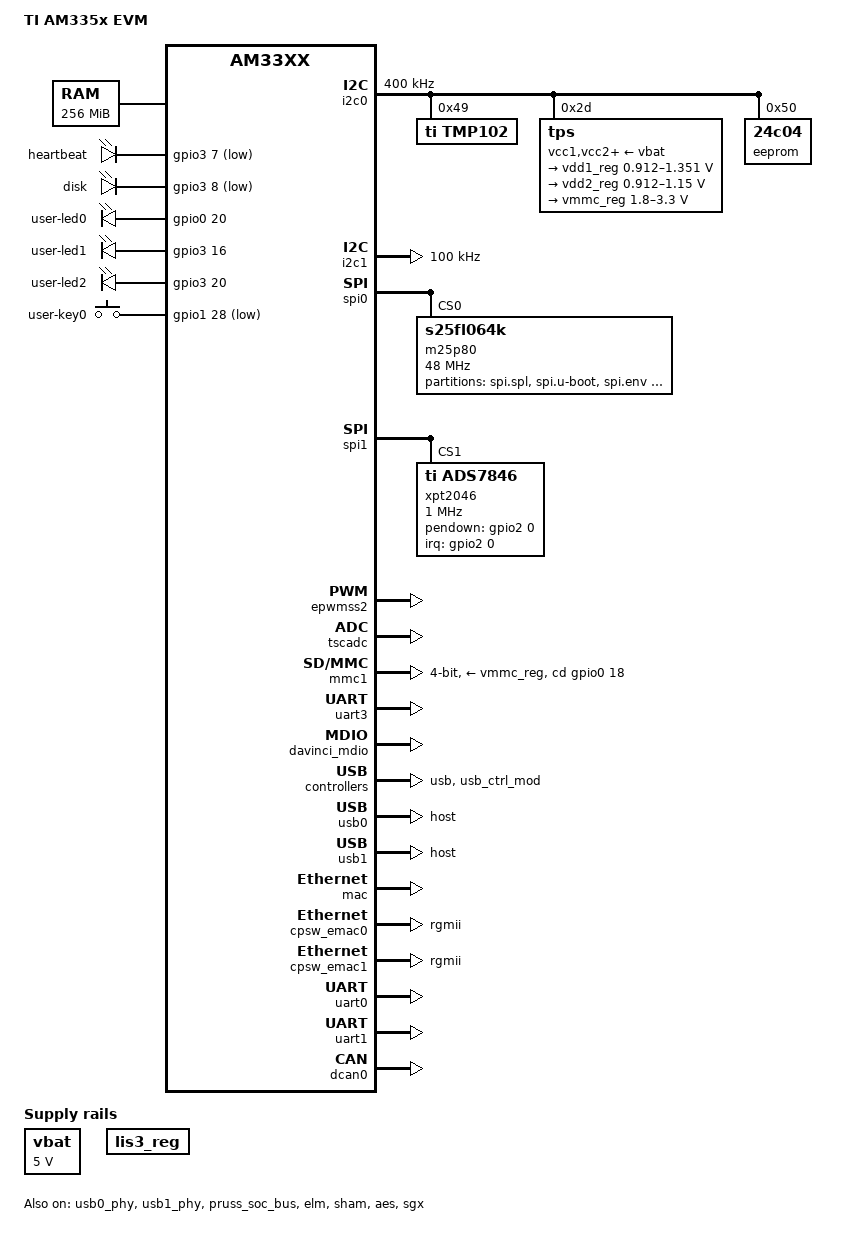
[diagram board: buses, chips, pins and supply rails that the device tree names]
/*
 * Copyright (C) 2015 GuangZhou Tronlong co., LTD - http://www.tronlong.com
 *
 * This program is free software; you can redistribute it and/or modify
 * it under the terms of the GNU General Public License version 2 as
 * published by the Free Software Foundation.
 */

/* Common device tree for TL335x-EVM board */

/dts-v1/;

#include "am33xx.dtsi"
#include <dt-bindings/interrupt-controller/irq.h>
#include <dt-bindings/input/input.h>

/ {
	model = "TI AM335x EVM";
	compatible = "ti,am335x-evm", "ti,am33xx";

	cpus {
		cpu@0 {
			cpu0-supply = <&vdd1_reg>;
		};
	};

	memory@80000000 {
		device_type = "memory";
		reg = <0x80000000 0x10000000>;	/* 256 MB */
	};

	chosen {
		stdout-path = &uart3;
	};

	vbat: fixedregulator0 {
		compatible = "regulator-fixed";
		regulator-name = "vbat";
		regulator-min-microvolt = <5000000>;
		regulator-max-microvolt = <5000000>;
		regulator-boot-on;
	};

	lis3_reg: fixedregulator1 {
		compatible = "regulator-fixed";
		regulator-name = "lis3_reg";
		regulator-boot-on;
	};

	leds {
		compatible = "gpio-leds";
		pinctrl-names = "default";
		pinctrl-0 = <&user_leds>;

		led@0 {
			label = "heartbeat";
			gpios = <&gpio3 7 GPIO_ACTIVE_LOW>;
			default-state = "on";
			linux,default-trigger = "heartbeat";
		};

		led@1 {
			label = "disk";
			gpios = <&gpio3 8 GPIO_ACTIVE_LOW>;
			default-state = "on";
			linux,default-trigger = "mmc1";
		};

		led@3 {
			label = "user-led0";
			gpios = <&gpio0 20 GPIO_ACTIVE_HIGH>;
			default-state = "on";
		};

		led@4 {
			label = "user-led1";
			gpios = <&gpio3 16 GPIO_ACTIVE_HIGH>;
			default-state = "on";
		};

		led@5 {
			label = "user-led2";
			gpios = <&gpio3 20 GPIO_ACTIVE_HIGH>;
			default-state = "on";
		};
	};

	gpio_keys: user_keys@0 {
		compatible = "gpio-keys";
		#address-cells = <1>;
		#size-cells = <0>;
		autorepeat;

		pinctrl-names = "default";
		pinctrl-0 = <&user_keys_default>;

		button@0 {
			label = "user-key0";
			linux,code = <KEY_PROG1>;
			gpios = <&gpio1 28 GPIO_ACTIVE_LOW>;
			gpio-key,wakeup;
			debounce-interval = <0>;
		};
	};
};

&am33xx_pinmux {
	pinctrl-names = "default";

	user_leds: user_leds {
		pinctrl-single,pins = <
			AM33XX_IOPAD(0x9e4, PIN_OUTPUT | MUX_MODE7)	/* (C14) emu0.gpio3[7] */
			AM33XX_IOPAD(0x9e8, PIN_OUTPUT | MUX_MODE7)	/* (B14) emu1.gpio3[8] */

			AM33XX_IOPAD(0x9b4, PIN_OUTPUT | MUX_MODE7)		/* (D14) XDMA_EVENT_INTR1.gpio0[20] */
			AM33XX_IOPAD(0x998, PIN_OUTPUT | MUX_MODE7)		/* (D12) MCASP0_AXR0.gpio3[16] */
			AM33XX_IOPAD(0x9a8, PIN_OUTPUT | MUX_MODE7)		/* (U5) MCASP0_AXR1.gpio3[20] */
		>;
	};

	user_keys_default: user_keys_default {
		pinctrl-single,pins = <
			AM33XX_IOPAD(0x878, PIN_INPUT_PULLUP | MUX_MODE7)	/* (U18) GPMC_BEN1.gpio1[28] */
		>;
	};

	i2c0_pins: pinmux_i2c0_pins {
		pinctrl-single,pins = <
			AM33XX_IOPAD(0x988, PIN_INPUT_PULLUP | MUX_MODE0)	/* i2c0_sda.i2c0_sda */
			AM33XX_IOPAD(0x98c, PIN_INPUT_PULLUP | MUX_MODE0)	/* i2c0_scl.i2c0_scl */
		>;
	};

	i2c1_pins: i2c1_pins_default {
		pinctrl-single,pins = <
			AM33XX_IOPAD(0x968, PIN_INPUT_PULLUP | MUX_MODE3)	/* (E17) I2C1_SCL/GPIO1[9] */
			AM33XX_IOPAD(0x96c, PIN_INPUT_PULLUP | MUX_MODE3)	/* (E18) I2C1_SDA/GPIO1[8] */
		>;
	};

	spi0_pins_default: spi0_pins_default {
		pinctrl-single,pins = <
			AM33XX_IOPAD(0x950, PIN_INPUT_PULLUP | MUX_MODE0)	/* (A17) spi0_sclk.spi0_sclk */
			AM33XX_IOPAD(0x954, PIN_INPUT_PULLUP | MUX_MODE0)	/* (B17) spi0_d0.spi0_d0 */
			AM33XX_IOPAD(0x958, PIN_INPUT_PULLUP | MUX_MODE0)	/* (B16) spi0_d1.spi0_d1 */
			AM33XX_IOPAD(0x95c, PIN_INPUT_PULLUP | MUX_MODE0)	/* (A16) spi0_cs0.spi0_cs0 */
		>;
	};

	spi1_pins_default: spi1_pins_default {
		pinctrl-single,pins = <
			AM33XX_IOPAD(0x908, PIN_INPUT_PULLUP | MUX_MODE2)	/* (H16) GMII1_COL.SPI1_SCLK */
			AM33XX_IOPAD(0x90c, PIN_INPUT_PULLUP | MUX_MODE2)	/* (H17) GMII1_CRS.SPI1_D0 */
			AM33XX_IOPAD(0x910, PIN_INPUT_PULLUP | MUX_MODE2)	/* (J15) GMII1_RXER.SPI1_D1 */
			AM33XX_IOPAD(0x9b0, PIN_INPUT_PULLUP | MUX_MODE4)	/* (A15) XDMA_EVENT_INTR0.SPI1_CS1 */
			AM33XX_IOPAD(0x888, PIN_INPUT_PULLUP | MUX_MODE7)	/* (T13) GPMC_CSN3.GPIO2[0] */
		>;
	};

	uart3_pins_default: uart3_pins_default {
		pinctrl-single,pins = <
			AM33XX_IOPAD(0x960, PIN_INPUT_PULLUP | MUX_MODE1)	/* (L17) gmii1_rxd3.uart3_rxd */
			AM33XX_IOPAD(0x964, PIN_OUTPUT_PULLUP | MUX_MODE1)	/* (L16) gmii1_rxd2.uart3_txd */
		>;
	};

	davinci_mdio_default: davinci_mdio_default {
		pinctrl-single,pins = <
			/* MDIO */
			AM33XX_IOPAD(0x948, PIN_INPUT_PULLUP | SLEWCTRL_FAST | MUX_MODE0)	/* mdio_data.mdio_data */
			AM33XX_IOPAD(0x94c, PIN_OUTPUT_PULLUP | MUX_MODE0)			/* mdio_clk.mdio_clk */
		>;
	};

	davinci_mdio_sleep: davinci_mdio_sleep {
		pinctrl-single,pins = <
			/* MDIO reset value */
			AM33XX_IOPAD(0x948, PIN_INPUT_PULLDOWN | MUX_MODE7)
			AM33XX_IOPAD(0x94c, PIN_INPUT_PULLDOWN | MUX_MODE7)
		>;
	};

	mmc1_pins: pinmux_mmc1_pins {
		pinctrl-single,pins = <
            AM33XX_IOPAD(0xa1c, PIN_INPUT | MUX_MODE7)          /* (F16) USB0_DRVVBUS.gpio0[18] */
			AM33XX_IOPAD(0x8f0, PIN_INPUT_PULLUP | MUX_MODE0)	/* (F17) mmc0_dat3.mmc0_dat3 */
			AM33XX_IOPAD(0x8f4, PIN_INPUT_PULLUP | MUX_MODE0)	/* (F18) mmc0_dat2.mmc0_dat2 */
			AM33XX_IOPAD(0x8f8, PIN_INPUT_PULLUP | MUX_MODE0)	/* (G15) mmc0_dat1.mmc0_dat1 */
			AM33XX_IOPAD(0x8fc, PIN_INPUT_PULLUP | MUX_MODE0)	/* (G16) mmc0_dat0.mmc0_dat0 */
			AM33XX_IOPAD(0x900, PIN_INPUT_PULLUP | MUX_MODE0)	/* (G17) mmc0_clk.mmc0_clk */
            AM33XX_IOPAD(0x904, PIN_INPUT_PULLUP | MUX_MODE0)	/* (G18) mmc0_cmd.mmc0_cmd */
        >;
	};



	cpsw_default: cpsw_default {
		pinctrl-single,pins = <
			/* Slave 1 */
			AM33XX_IOPAD(0x914, PIN_OUTPUT_PULLDOWN | MUX_MODE2)	/* mii1_txen.rgmii1_tctl */
			AM33XX_IOPAD(0x918, PIN_INPUT_PULLDOWN | MUX_MODE2)	/* mii1_rxdv.rgmii1_rctl */
			AM33XX_IOPAD(0x91c, PIN_OUTPUT_PULLDOWN | MUX_MODE2)	/* mii1_txd3.rgmii1_td3 */
			AM33XX_IOPAD(0x920, PIN_OUTPUT_PULLDOWN | MUX_MODE2)	/* mii1_txd2.rgmii1_td2 */
			AM33XX_IOPAD(0x924, PIN_OUTPUT_PULLDOWN | MUX_MODE2)	/* mii1_txd1.rgmii1_td1 */
			AM33XX_IOPAD(0x928, PIN_OUTPUT_PULLDOWN | MUX_MODE2)	/* mii1_txd0.rgmii1_td0 */
			AM33XX_IOPAD(0x92c, PIN_OUTPUT_PULLDOWN | MUX_MODE2)	/* mii1_txclk.rgmii1_tclk */
			AM33XX_IOPAD(0x930, PIN_INPUT_PULLDOWN | MUX_MODE2)	/* mii1_rxclk.rgmii1_rclk */
			AM33XX_IOPAD(0x934, PIN_INPUT_PULLDOWN | MUX_MODE2)	/* mii1_rxd3.rgmii1_rd3 */
			AM33XX_IOPAD(0x938, PIN_INPUT_PULLDOWN | MUX_MODE2)	/* mii1_rxd2.rgmii1_rd2 */
			AM33XX_IOPAD(0x93c, PIN_INPUT_PULLDOWN | MUX_MODE2)	/* mii1_rxd1.rgmii1_rd1 */
			AM33XX_IOPAD(0x940, PIN_INPUT_PULLDOWN | MUX_MODE2)	/* mii1_rxd0.rgmii1_rd0 */

			/* Slave 2 */
			AM33XX_IOPAD(0x840, PIN_OUTPUT_PULLDOWN | MUX_MODE2)	/* GPMC_A0.rgmii2_tctl */
			AM33XX_IOPAD(0x844, PIN_INPUT_PULLDOWN | MUX_MODE2)	/* GPMC_A1.rgmii2_rctl */
			AM33XX_IOPAD(0x848, PIN_OUTPUT_PULLDOWN | MUX_MODE2)	/* GPMC_A2.rgmii2_td3 */
			AM33XX_IOPAD(0x84C, PIN_OUTPUT_PULLDOWN | MUX_MODE2)	/* GPMC_A3.rgmii2_td2 */
			AM33XX_IOPAD(0x850, PIN_OUTPUT_PULLDOWN | MUX_MODE2)	/* GPMC_A4.rgmii2_td1 */
			AM33XX_IOPAD(0x854, PIN_OUTPUT_PULLDOWN | MUX_MODE2)	/* GPMC_A5.rgmii2_td0 */
			AM33XX_IOPAD(0x858, PIN_OUTPUT_PULLDOWN | MUX_MODE2)	/* GPMC_A6.rgmii2_tclk */
			AM33XX_IOPAD(0x85C, PIN_INPUT_PULLDOWN | MUX_MODE2)	/* GPMC_A7.rgmii2_rclk */
			AM33XX_IOPAD(0x860, PIN_INPUT_PULLDOWN | MUX_MODE2)	/* GPMC_A8.rgmii2_rd3 */
			AM33XX_IOPAD(0x864, PIN_INPUT_PULLDOWN | MUX_MODE2)	/* GPMC_A9.rgmii2_rd2 */
			AM33XX_IOPAD(0x868, PIN_INPUT_PULLDOWN | MUX_MODE2)	/* GPMC_A10.rgmii2_rd1 */
			AM33XX_IOPAD(0x86C, PIN_INPUT_PULLDOWN | MUX_MODE2)	/* GPMC_A11.rgmii2_rd0 */
		>;
	};

	cpsw_sleep: cpsw_sleep {
		pinctrl-single,pins = <
			/* Slave 1 reset value */
			AM33XX_IOPAD(0x914, PIN_INPUT_PULLDOWN | MUX_MODE7)
			AM33XX_IOPAD(0x918, PIN_INPUT_PULLDOWN | MUX_MODE7)
			AM33XX_IOPAD(0x91c, PIN_INPUT_PULLDOWN | MUX_MODE7)
			AM33XX_IOPAD(0x920, PIN_INPUT_PULLDOWN | MUX_MODE7)
			AM33XX_IOPAD(0x924, PIN_INPUT_PULLDOWN | MUX_MODE7)
			AM33XX_IOPAD(0x928, PIN_INPUT_PULLDOWN | MUX_MODE7)
			AM33XX_IOPAD(0x92c, PIN_INPUT_PULLDOWN | MUX_MODE7)
			AM33XX_IOPAD(0x930, PIN_INPUT_PULLDOWN | MUX_MODE7)
			AM33XX_IOPAD(0x934, PIN_INPUT_PULLDOWN | MUX_MODE7)
			AM33XX_IOPAD(0x938, PIN_INPUT_PULLDOWN | MUX_MODE7)
			AM33XX_IOPAD(0x93c, PIN_INPUT_PULLDOWN | MUX_MODE7)
			AM33XX_IOPAD(0x940, PIN_INPUT_PULLDOWN | MUX_MODE7)

			/* Slave 2 */
			AM33XX_IOPAD(0x840, PIN_INPUT_PULLDOWN | MUX_MODE7)
			AM33XX_IOPAD(0x844, PIN_INPUT_PULLDOWN | MUX_MODE7)
			AM33XX_IOPAD(0x848, PIN_INPUT_PULLDOWN | MUX_MODE7)
			AM33XX_IOPAD(0x84C, PIN_INPUT_PULLDOWN | MUX_MODE7)
			AM33XX_IOPAD(0x850, PIN_INPUT_PULLDOWN | MUX_MODE7)
			AM33XX_IOPAD(0x854, PIN_INPUT_PULLDOWN | MUX_MODE7)
			AM33XX_IOPAD(0x858, PIN_INPUT_PULLDOWN | MUX_MODE7)
			AM33XX_IOPAD(0x85C, PIN_INPUT_PULLDOWN | MUX_MODE7)
			AM33XX_IOPAD(0x860, PIN_INPUT_PULLDOWN | MUX_MODE7)
			AM33XX_IOPAD(0x864, PIN_INPUT_PULLDOWN | MUX_MODE7)
			AM33XX_IOPAD(0x868, PIN_INPUT_PULLDOWN | MUX_MODE7)
			AM33XX_IOPAD(0x86C, PIN_INPUT_PULLDOWN | MUX_MODE7)
		>;
	};

	uart0_pins: pinmux_uart0_pins {
		pinctrl-single,pins = <
			AM33XX_IOPAD(0x970, PIN_INPUT_PULLUP | MUX_MODE0)	/* uart0_rxd.uart0_rxd */
			AM33XX_IOPAD(0x974, PIN_OUTPUT_PULLDOWN | MUX_MODE0)	/* uart0_txd.uart0_txd */
		>;
	};

	uart1_pins: pinmux_uart1_pins {
		pinctrl-single,pins = <
			AM33XX_IOPAD(0x980, PIN_INPUT_PULLUP | MUX_MODE0)	/* uart1_rxd.uart1_rxd */
			AM33XX_IOPAD(0x984, PIN_OUTPUT_PULLDOWN | MUX_MODE0)	/* uart1_txd.uart1_txd */
		>;
	};

	dcan0_pins_default: dcan0_pins_default {
		pinctrl-single,pins = <
			AM33XX_IOPAD(0x978, PIN_OUTPUT | MUX_MODE2)		/* (D18)D18/DCAN0_TX */
			AM33XX_IOPAD(0x97c, PIN_INPUT_PULLDOWN | MUX_MODE2)	/* (D17)D17/DCAN0_RX */
		>;
	};
};

&i2c0 {
	pinctrl-names = "default";
	pinctrl-0 = <&i2c0_pins>;
	status = "okay";
	clock-frequency = <400000>;
	tmp102: tmp102@49 {
		compatible = "ti,tmp102";
		reg = <0x49>;
	};

	tps: tps@2d {
		reg = <0x2d>;
	};

	eeprom@50 {
		compatible = "24c04";
		reg = <0x50>;
		pagasize = <16>;
	};
};

&i2c1 {
	pinctrl-names = "default";
	pinctrl-0 = <&i2c1_pins>;

	status = "okay";
	clock-frequency = <100000>;
};

&spi0 {
	status = "okay";
	pinctrl-names = "default";
	pinctrl-0 = <&spi0_pins_default>;

	m25p80@0 {
		compatible = "s25fl064k";
		spi-max-frequency = <48000000>;
		reg = <0>;
		spi-tx-bus-width = <1>;
		spi-rx-bus-width = <1>;
		#address-cells = <1>;
		#size-cells = <1>;

		/* MTD partition table.
		* The ROM checks the first four physical blocks
		* for a valid file to boot and the flash here is
		* 64KiB block size.
		*/
		partition@spi.spl {
			label = "spi.spl";
			reg = <0x00000000 0x00020000>;	/* 128KB */
		};

		partition@spi.u-boot {
			label = "spi.u-boot";
			reg = <0x00020000 0x00080000>;	/* 512KB */
		};

		partition@spi.env {
			label = "spi.env";
			reg = <0x000a0000 0x00040000>;	/* 256KB */
		};

		partition@spi.devicetree {
			label = "spi.devicetree";
			reg = <0x000e0000 0x00080000>;	/* 512KB */
		};

		partition@spi.kernel {
			label = "spi.kernel";
			reg = <0x00160000 0x00000000>;
		};
	};
};

&spi1 {
	status = "okay";
	pinctrl-names = "default";
	pinctrl-0 = <&spi1_pins_default>;
	ti,pindir-d0-out-d1-in;
	xpt2046@1 {
		reg = <1>;	/* CS1 */
		compatible = "ti,ads7846";
		interrupt-parent = <&gpio2>;
		interrupts = <0 0>;
		spi-max-frequency = <1000000>;
		pendown-gpio = <&gpio2 0 0>;
		ti,x-min = /bits/ 16 <0>;
		ti,x-max = /bits/ 16 <0xfff>;
		ti,y-min = /bits/ 16 <0>;
		ti,y-max = /bits/ 16 <0xfff>;

		ti,x-plate-ohms = /bits/ 16 <180>;
		ti,pressure-max = /bits/ 16 <255>;

		ti,debounce-max = /bits/ 16 <10>;
		ti,debounce-tol = /bits/ 16 <30>;
		ti,debounce-rep = /bits/ 16 <1>;
		ti,settle-delay-usec = /bits/ 16 <150>;
		ti,keep-vref-on = <1>;
		linux,wakeup;

		wakeup-source;
	};
};

&epwmss2 {
	status = "okay";
	ecap2: ecap@48304100 {
		status = "okay";
	};
};

&tscadc {
	status = "okay";
	adc {
		ti,adc-channels = <0 1 2 3 4 5 6 7>;
	};
};

&mmc1 {
	status = "okay";
	vmmc-supply = <&vmmc_reg>;
	bus-width = <4>;
	pinctrl-names = "default";
	pinctrl-0 = <&mmc1_pins>;
	cd-gpios = <&gpio0 18 GPIO_ACTIVE_HIGH>;
};

&uart3 {
	pinctrl-names = "default";
	pinctrl-0 = <&uart3_pins_default>;
	status = "okay";
};

&davinci_mdio {
	pinctrl-names = "default", "sleep";
	pinctrl-0 = <&davinci_mdio_default>;
	pinctrl-1 = <&davinci_mdio_sleep>;
	status = "okay";
};

&usb {
	status = "okay";
};

&usb_ctrl_mod {
	status = "okay";
};

&usb0_phy {
	status = "okay";
};

&usb1_phy {
	status = "okay";
};

&usb0 {
	status = "okay";
	dr_mode = "host";
};

&usb1 {
	status = "okay";
	dr_mode = "host";
};

#include "tps65910.dtsi"
&tps {
	vcc1-supply = <&vbat>;
	vcc2-supply = <&vbat>;
	vcc3-supply = <&vbat>;
	vcc4-supply = <&vbat>;
	vcc5-supply = <&vbat>;
	vcc6-supply = <&vbat>;
	vcc7-supply = <&vbat>;
	vccio-supply = <&vbat>;

	interrupt-parent = <&intc>;
	interrupts = < 0 118 0x04 >;

	regulators {
		vrtc_reg: regulator@0 {
			regulator-always-on;
		};

		vio_reg: regulator@1 {
			regulator-always-on;
		};

		vdd1_reg: regulator@2 {
			/* VDD_MPU voltage limits 0.95V - 1.26V with +/-4% tolerance */
			regulator-name = "vdd_mpu";
			regulator-min-microvolt = <912500>;
			regulator-max-microvolt = <1351500>;
			regulator-boot-on;
			regulator-always-on;
		};

		vdd2_reg: regulator@3 {
			/* VDD_CORE voltage limits 0.95V - 1.1V with +/-4% tolerance */
			regulator-name = "vdd_core";
			regulator-min-microvolt = <912500>;
			regulator-max-microvolt = <1150000>;
			regulator-boot-on;
			regulator-always-on;
		};

		vdd3_reg: regulator@4 {
			regulator-always-on;
		};

		vdig1_reg: regulator@5 {
			regulator-always-on;
		};

		vdig2_reg: regulator@6 {
			regulator-always-on;
		};

		vpll_reg: regulator@7 {
			regulator-always-on;
		};

		vdac_reg: regulator@8 {
			regulator-always-on;
		};

		vaux1_reg: regulator@9 {
			regulator-always-on;
		};

		vaux2_reg: regulator@10 {
			regulator-always-on;
		};

		vaux33_reg: regulator@11 {
			regulator-always-on;
		};

		vmmc_reg: regulator@12 {
			regulator-min-microvolt = <1800000>;
			regulator-max-microvolt = <3300000>;
			regulator-always-on;
		};
	};
};

&pruss_soc_bus {
	status = "okay";
	pruss: pruss@4a300000 {
		status = "okay";

		pru0: pru@4a334000 {
			status = "okay";
		};

		pru1: pru@4a338000 {
			status = "okay";
		};
	};
};

&mac {
	pinctrl-names = "default", "sleep";
	pinctrl-0 = <&cpsw_default>;
	pinctrl-1 = <&cpsw_sleep>;
	status = "okay";
	dual_emac;
};

&cpsw_emac0 {
	phy_id = <&davinci_mdio>, <0>;
	phy-mode = "rgmii";
	dual_emac_res_vlan = <1>;
};

&cpsw_emac1 {
	phy_id = <&davinci_mdio>, <1>;
	phy-mode = "rgmii";
	dual_emac_res_vlan = <2>;
};

&rtc {
	clocks = <&clk_32768_ck>, <&clkdiv32k_ick>;
	clock-names = "ext-clk", "int-clk";
};

&uart0 {
	pinctrl-names = "default";
	pinctrl-0 = <&uart0_pins>;
	status = "okay";
};

&uart1 {
	pinctrl-names = "default";
	pinctrl-0 = <&uart1_pins>;
	status = "okay";
};

&dcan0 {
	status = "okay";
	pinctrl-names = "default";
	pinctrl-0 = <&dcan0_pins_default>;
};

&cppi41dma {
	status = "okay";
};

&elm {
	status = "okay";
};

&sham {
	status = "okay";
};

&aes {
	status = "okay";
};

&wkup_m3_ipc {
	ti,scale-data-fw = "am335x-evm-scale-data.bin";
};

&sgx {
	status = "okay";
};

&gpio3 {
	ti,no-reset-on-init;
};
